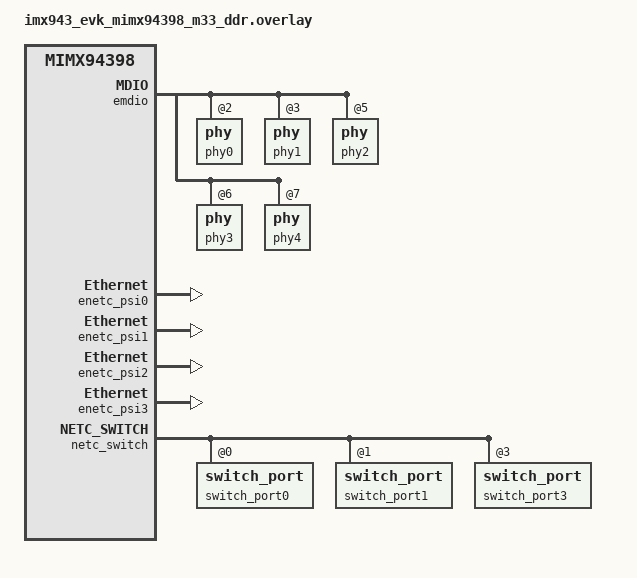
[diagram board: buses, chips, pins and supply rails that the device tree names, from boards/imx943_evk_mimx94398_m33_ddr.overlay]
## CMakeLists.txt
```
# SPDX-License-Identifier: Apache-2.0

cmake_minimum_required(VERSION 3.28.0)

find_package(Zephyr REQUIRED HINTS $ENV{ZEPHYR_BASE})
project(gptp)

target_sources(app PRIVATE src/main.c src/gptp.c)
```

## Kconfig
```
# Private config options for gPTP sample app

# Copyright (c) 2018 Intel Corporation
# SPDX-License-Identifier: Apache-2.0

mainmenu "gPTP sample application"

if NET_GPTP

config NET_SAMPLE_RUN_DURATION
	int "Run the application this many seconds"
	default 0
	help
	  A value of zero means that the sample application is run forever.

endif


source "Kconfig.zephyr"
```

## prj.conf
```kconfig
CONFIG_NETWORKING=y
CONFIG_NET_LOG=y
CONFIG_LOG=y
CONFIG_NET_IPV6=y
CONFIG_NET_IPV4=y
CONFIG_NET_DHCPV4=n
CONFIG_NET_UDP=y
CONFIG_NET_TCP=y
CONFIG_NET_STATISTICS=y
CONFIG_NET_STATISTICS_USER_API=y

CONFIG_TEST_RANDOM_GENERATOR=y

CONFIG_NET_PKT_RX_COUNT=32
CONFIG_NET_PKT_TX_COUNT=32
CONFIG_NET_BUF_RX_COUNT=32
CONFIG_NET_BUF_TX_COUNT=32
CONFIG_NET_IF_UNICAST_IPV6_ADDR_COUNT=5
CONFIG_NET_IF_MCAST_IPV6_ADDR_COUNT=5
CONFIG_NET_IF_UNICAST_IPV4_ADDR_COUNT=1
CONFIG_NET_MAX_CONTEXTS=10

CONFIG_INIT_STACKS=y
CONFIG_PRINTK=y
CONFIG_NET_SHELL=y

# Ethernet is needed for gPTP
CONFIG_ETH_DRIVER=y

CONFIG_NET_CONFIG_NEED_IPV6=y
CONFIG_NET_CONFIG_NEED_IPV4=y
CONFIG_NET_CONFIG_SETTINGS=y

# First ethernet interface will use these settings
CONFIG_NET_CONFIG_MY_IPV6_ADDR="2001:db8::1"
CONFIG_NET_CONFIG_PEER_IPV6_ADDR="2001:db8::2"
CONFIG_NET_CONFIG_MY_IPV4_ADDR="192.0.2.1"
CONFIG_NET_CONFIG_PEER_IPV4_ADDR="192.0.2.2"

# gPTP settings
CONFIG_NET_GPTP=y
CONFIG_NET_GPTP_STATISTICS=y
CONFIG_NET_GPTP_GM_CAPABLE=y

# How many traffic classes to enable
CONFIG_NET_TC_TX_COUNT=6
CONFIG_NET_TC_RX_COUNT=4

# Enable priority support in net_context
CONFIG_NET_CONTEXT_PRIORITY=y

CONFIG_LOG_MODE_DEFERRED=y
```

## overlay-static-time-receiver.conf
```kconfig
# Operate as a statically configured time receiver: BMCA and Announce
# handling are bypassed, the port role is pinned to time receiver and the
# clock follows the received Sync/Follow_Up stream. Use this on networks
# built after the IEEE 802.1AS automotive profile, whose bridges send no
# Announce messages.
CONFIG_NET_GPTP_STATIC_TIME_RECEIVER=y
```

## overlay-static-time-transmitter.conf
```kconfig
# Operate as the grandmaster of a network with static port roles: BMCA
# and Announce handling are bypassed and the port role is pinned to time
# transmitter. Use this on networks built after the IEEE 802.1AS
# automotive profile, whose time-aware systems send no Announce messages.
CONFIG_NET_GPTP_STATIC_TIME_TRANSMITTER=y
```

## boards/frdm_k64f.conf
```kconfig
CONFIG_NET_CONFIG_MY_IPV6_ADDR="2001:db8::2"
CONFIG_NET_CONFIG_PEER_IPV6_ADDR="2001:db8::1"
CONFIG_NET_CONFIG_MY_IPV4_ADDR="192.0.2.2"
CONFIG_NET_CONFIG_PEER_IPV4_ADDR="192.0.2.1"
CONFIG_CBPRINTF_FP_SUPPORT=y
CONFIG_CBPRINTF_FP_A_SUPPORT=y
CONFIG_CBPRINTF_FP_ALWAYS_A=y
CONFIG_NET_GPTP_NEIGHBOR_PROP_DELAY_THR=1000000
```

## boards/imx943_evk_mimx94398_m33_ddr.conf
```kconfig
CONFIG_ETH_DRIVER=y
CONFIG_NET_IF_MAX_IPV4_COUNT=7
CONFIG_NET_DSA=y
CONFIG_NET_GPTP_MONITOR_SYNC_STATUS=y
CONFIG_NET_GPTP_NUM_PORTS=5
```

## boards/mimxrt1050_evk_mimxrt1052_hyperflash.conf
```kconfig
CONFIG_NET_CONFIG_MY_IPV6_ADDR="2001:db8::2"
CONFIG_NET_CONFIG_PEER_IPV6_ADDR="2001:db8::1"
CONFIG_NET_CONFIG_MY_IPV4_ADDR="192.0.2.2"
CONFIG_NET_CONFIG_PEER_IPV4_ADDR="192.0.2.1"
CONFIG_ETH_NXP_ENET_RX_BUFFERS=6
CONFIG_ETH_NXP_ENET_TX_BUFFERS=4
CONFIG_REQUIRES_FULL_LIBC=y
CONFIG_REQUIRES_FLOAT_PRINTF=y
```

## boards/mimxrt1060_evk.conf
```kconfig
CONFIG_NET_GPTP_NEIGHBOR_PROP_DELAY_THR=1000000
CONFIG_NET_GPTP_PROBE_CLOCK_SOURCE_ON_DEMAND=y
#CONFIG_ETH_NXP_ENET_RX_BUFFERS=6
#CONFIG_ETH_NXP_ENET_TX_BUFFERS=8
CONFIG_REQUIRES_FLOAT_PRINTF=y
CONFIG_REQUIRES_FULL_LIBC=y
CONFIG_NET_GPTP_INIT_LOG_PDELAY_REQ_ITV=-3
```

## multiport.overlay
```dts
/*
 * SPDX-FileCopyrightText: Copyright The Zephyr Project Contributors
 * SPDX-License-Identifier: Apache-2.0
 */

/*
 * Two gPTP ports map to two TAP interfaces: zeth0 and zeth1.
 * Use together with multiport.conf (CONFIG_NET_GPTP_NUM_PORTS=2).
 */

&zeth0 {
	host-interface = "zeth0";
};

/ {
	zeth1: zeth1 {
		compatible = "zephyr,native-tap";
		host-interface = "zeth1";
		zephyr,random-mac-address;
		zephyr,mac-address-prefix = [00 00 5e 00 53];
		status = "okay";

		ptp_clock1: ptp_clock {
			compatible = "zephyr,native-ptp-clock";
			status = "okay";
		};
	};
};
```

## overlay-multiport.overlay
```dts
/*
 * SPDX-FileCopyrightText: Copyright The Zephyr Project Contributors
 * SPDX-License-Identifier: Apache-2.0
 */

/*
 * Two gPTP ports map to two TAP interfaces: zeth0 and zeth1.
 * Use together with overlay-multiport.conf (CONFIG_NET_GPTP_NUM_PORTS=2).
 */

&zeth0 {
	host-interface = "zeth0";
};

/ {
	zeth1: zeth1 {
		compatible = "zephyr,native-tap";
		host-interface = "zeth1";
		zephyr,random-mac-address;
		zephyr,mac-address-prefix = [00 00 5e 00 53];
		status = "okay";

		ptp_clock1: ptp_clock {
			compatible = "zephyr,native-ptp-clock";
			status = "okay";
		};
	};
};
```

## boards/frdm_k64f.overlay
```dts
/*
 * Copyright (c) 2021 Esco Medical Aps
 *
 * SPDX-License-Identifier: Apache-2.0
 */

&enet {
	ptp {
		status = "okay";
	};
};
```

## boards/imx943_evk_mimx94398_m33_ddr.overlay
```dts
/*
 * Copyright 2025 NXP
 *
 * SPDX-License-Identifier: Apache-2.0
 */

&emdio {
	status = "okay";

	phy0: phy@2 {
		status = "okay";
	};

	phy1: phy@3 {
		status = "okay";
	};

	phy2: phy@5 {
		status = "okay";
	};

	phy3: phy@6 {
		status = "okay";
	};

	phy4: phy@7 {
		status = "okay";
	};
};

&enetc_psi0 {
	ptp-clock = <&netc_ptp_clock0>;
	status = "okay";
};

&enetc_psi1 {
	ptp-clock = <&netc_ptp_clock0>;
	status = "okay";
};

&enetc_psi2 {
	ptp-clock = <&netc_ptp_clock0>;
	status = "okay";
};

/* Internal port */
&enetc_psi3 {
	status = "okay";
};

&netc_switch {
	status = "okay";

	switch_port0: switch_port@0 {
		ptp-clock = <&netc_ptp_clock0>;
		status = "okay";
	};

	switch_port1: switch_port@1 {
		ptp-clock = <&netc_ptp_clock0>;
		status = "okay";
	};

	/* Internal port */
	switch_port3: switch_port@3 {
		status = "okay";
	};
};

&netc_ptp_clock0 {
	status = "okay";
};
```

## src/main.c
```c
/*
 * Copyright (c) 2018 Intel Corporation.
 *
 * SPDX-License-Identifier: Apache-2.0
 */

#include <zephyr/logging/log.h>
LOG_MODULE_REGISTER(net_gptp_sample, LOG_LEVEL_DBG);

#include <zephyr/kernel.h>
#include <errno.h>

#include <zephyr/net/net_core.h>
#include <zephyr/net/net_l2.h>
#include <zephyr/net/net_if.h>
#include <zephyr/net/ethernet.h>
#include <zephyr/net/gptp.h>

extern void init_testing(void);

static struct gptp_phase_dis_cb phase_dis;

static void gptp_phase_dis_cb(uint8_t *gm_identity,
			      uint16_t *time_base,
			      struct gptp_scaled_ns *last_gm_ph_change,
			      double *last_gm_freq_change)
{
	char output[sizeof("xx:xx:xx:xx:xx:xx:xx:xx")];
	static uint8_t id[8];

	if (memcmp(id, gm_identity, sizeof(id))) {
		memcpy(id, gm_identity, sizeof(id));

		LOG_DBG("GM %s last phase %d.%" PRId64 "",
			gptp_sprint_clock_id(gm_identity, output, sizeof(output)),
			last_gm_ph_change->high,
			last_gm_ph_change->low);
	}
}

static int init_app(void)
{
	gptp_register_phase_dis_cb(&phase_dis, gptp_phase_dis_cb);

	return 0;
}

int main(void)
{
	init_app();

	init_testing();
	return 0;
}
```

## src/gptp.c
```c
/*
 * Copyright (c) 2020 Intel Corporation.
 *
 * SPDX-License-Identifier: Apache-2.0
 */

#include <zephyr/logging/log.h>
LOG_MODULE_DECLARE(net_gptp_sample);

#include <zephyr/kernel.h>
#include <errno.h>
#include <stdlib.h>

#include <zephyr/net/net_core.h>
#include <zephyr/net/gptp.h>

#include <ethernet/gptp/gptp_messages.h>
#include <ethernet/gptp/gptp_data_set.h>

static int run_duration = CONFIG_NET_SAMPLE_RUN_DURATION;
static struct k_work_delayable stop_sample;
static struct k_sem quit_lock;

static void stop_handler(struct k_work *work)
{
	ARG_UNUSED(work);

	k_sem_give(&quit_lock);
}

static int get_current_status(void)
{
	struct gptp_domain *domain;
	struct gptp_port_ds *port_ds;
	int ret, port;

	port = 1;

	domain = gptp_get_domain();

	ret = gptp_get_port_data(domain, port, &port_ds,
				 NULL, NULL, NULL, NULL);
	if (ret < 0) {
		LOG_WRN("Cannot get gPTP information for port %d (%d)",
			port, ret);
		return ret;
	}

	if (port != port_ds->port_id.port_number) {
		return -EINVAL;
	}

	switch (GPTP_GLOBAL_DS()->selected_role[port]) {
	case GPTP_PORT_INITIALIZING:
	case GPTP_PORT_FAULTY:
	case GPTP_PORT_DISABLED:
	case GPTP_PORT_LISTENING:
	case GPTP_PORT_PRE_MASTER:
	case GPTP_PORT_PASSIVE:
	case GPTP_PORT_UNCALIBRATED:
		printk("FAIL\n");
		return 0;
	case GPTP_PORT_MASTER:
		printk("MASTER\n");
		return 1;
	case GPTP_PORT_SLAVE:
		printk("SLAVE\n");
		return 2;
	default:
		printk("Unknown Status\n");
		return -1;
	}

	return -1;
}

void init_testing(void)
{
	uint32_t uptime = k_uptime_get_32();
	int ret;

	if (run_duration == 0) {
		return;
	}

	k_sem_init(&quit_lock, 0, K_SEM_MAX_LIMIT);

	k_work_init_delayable(&stop_sample, stop_handler);
	k_work_reschedule(&stop_sample, K_SECONDS(run_duration));

	k_sem_take(&quit_lock, K_FOREVER);

	LOG_INF("Stopping after %u seconds",
		(k_uptime_get_32() - uptime) / 1000);

	/* Try to figure out what is the sync state.
	 * Return:
	 *  <0 - configuration error
	 *   0 - not time sync
	 *   1 - we are MASTER
	 *   2 - we are SLAVE
	 */
	ret = get_current_status();

	exit(ret);
}
```
